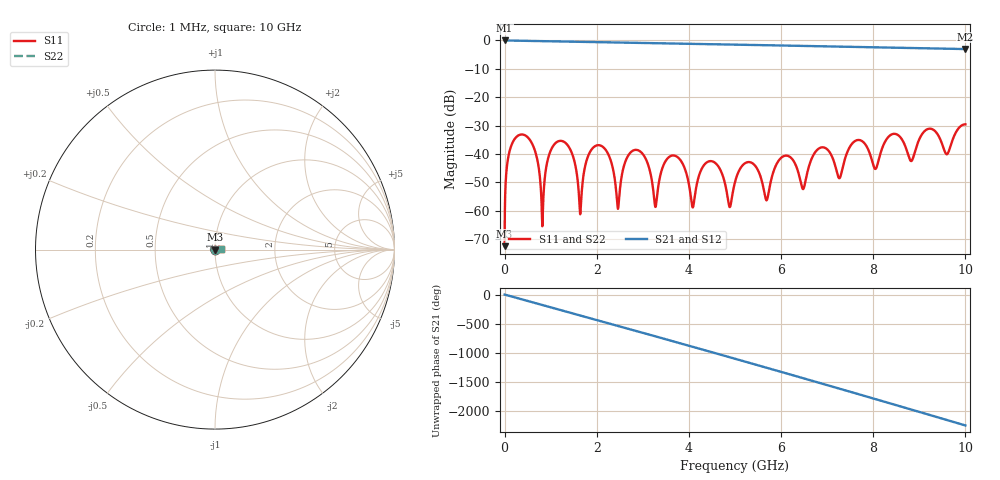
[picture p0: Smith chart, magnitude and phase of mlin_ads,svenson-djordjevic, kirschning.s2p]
! Created Fri Apr 29 09:55:23 2022
# hz S ma R 50
! 2 Port Network Data from SP1.SP block
! freq  magS11  angS11  magS21  angS21  magS12  angS12  magS22  angS22
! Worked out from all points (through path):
!   10000 points, 1 MHz to 10 GHz, reference 50 ohm
!   highest |S21| = 0.00 dB at 1 MHz (marker M1); lowest = -3.0 dB at 10 GHz (marker M2)
!   group delay of S21, straight-line fit = 625 ps
!   lowest |S11| = -72.6 dB at 1 MHz (marker M3), VSWR 1.00, Z = 50 - j0.0191 ohm
!   |S11| at or under -10 dB: start of sweep to end of sweep
!   |S22| runs from -72.6 to -29.6 dB; largest |S21 - S12| = 0
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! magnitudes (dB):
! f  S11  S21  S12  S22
! 1 MHz  -72.6  0.0  0.0  -72.6
! 93 MHz  -40.1  0.0  0.0  -40.1
! 338 MHz  -33.2  -0.1  -0.1  -33.2
! 646 MHz  -38.2  -0.2  -0.2  -38.2
! 816 MHz  -64.5  -0.2  -0.2  -64.5
! 1.206 GHz  -35.4  -0.4  -0.4  -35.4
! 1.668 GHz  -55.0  -0.5  -0.5  -55.0
! 2.026 GHz  -36.9  -0.6  -0.6  -36.9
! 2.457 GHz  -59.3  -0.7  -0.7  -59.3
! 2.821 GHz  -38.6  -0.8  -0.8  -38.6
! 3.334 GHz  -51.6  -1.0  -1.0  -51.6
! 3.651 GHz  -40.6  -1.1  -1.1  -40.6
! 4.081 GHz  -58.9  -1.2  -1.2  -58.9
! 4.416 GHz  -42.8  -1.3  -1.3  -42.8
! 5.001 GHz  -49.9  -1.5  -1.5  -49.9
! 6.117 GHz  -40.6  -1.8  -1.8  -40.6
! 6.479 GHz  -52.4  -1.9  -1.9  -52.4
! 6.667 GHz  -41.6  -2.0  -2.0  -41.6
! 8.049 GHz  -45.3  -2.4  -2.4  -45.3
! 8.334 GHz  -33.9  -2.5  -2.5  -33.9
! 8.825 GHz  -42.5  -2.7  -2.7  -42.5
! 10 GHz  -29.6  -3.0  -3.0  -29.6
